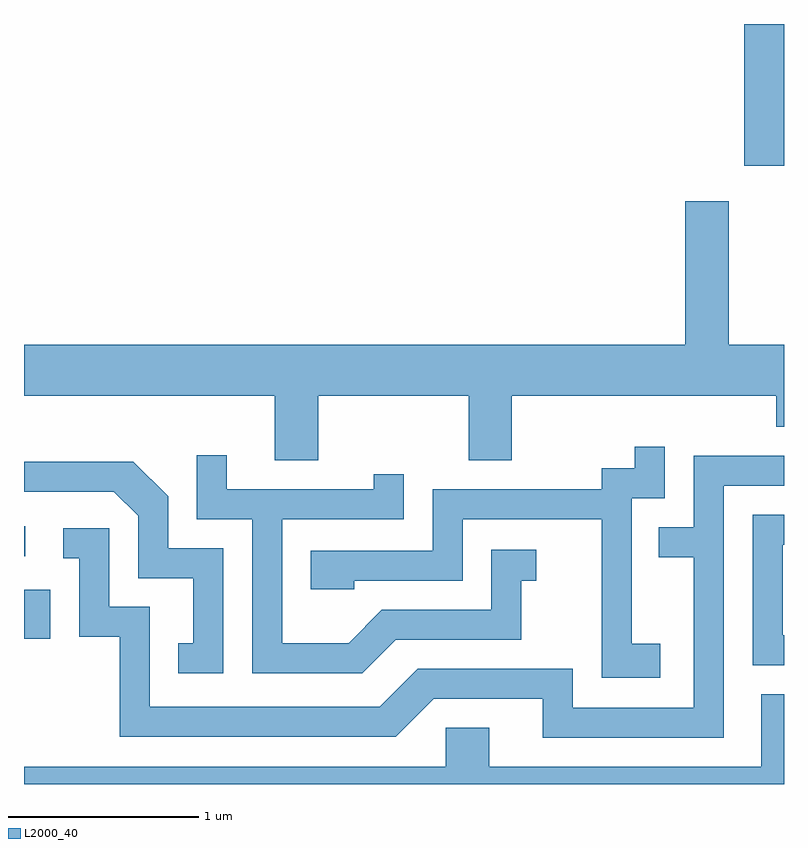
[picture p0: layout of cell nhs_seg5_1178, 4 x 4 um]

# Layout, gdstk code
import gdstk
lib = gdstk.Library(unit=1e-6, precision=1e-09)
def R(c, l, rs):  # rectangles x0, y0, x1, y1
    for r in rs: c.add(gdstk.rectangle(r[:2], r[2:], *l))
def P(c, l, *ps):  # polygons
    for p in ps: c.add(gdstk.Polygon(p, *l))
L2000_40 = (2000, 40)

nhs_seg5_1178 = lib.new_cell('nhs_seg5_1178')
R(nhs_seg5_1178, L2000_40, [(219.611,1468.836,219.749,1469.094), (219.611,1469.271,219.618,1469.429), (223.401,1471.326,223.611,1472.072)])
P(nhs_seg5_1178, L2000_40, [(221.159,1470.116),(221.951,1470.116),(221.951,1469.776),(222.179,1469.776),(222.179,1470.116),(223.571,1470.116),(223.571,1469.951),(223.611,1469.951),(223.611,1470.384),(223.319,1470.384),(223.319,1471.139),(223.091,1471.139),(223.091,1470.384),(219.611,1470.384),(219.611,1470.116),(220.931,1470.116),(220.931,1469.776),(221.159,1469.776)],
  [(222.959,1468.809),(222.809,1468.809),(222.809,1469.576),(222.984,1469.576),(222.984,1469.848),(222.826,1469.848),(222.826,1469.734),(222.651,1469.734),(222.651,1469.624),(221.761,1469.624),(221.761,1469.299),(221.121,1469.299),(221.121,1469.096),(221.349,1469.096),(221.349,1469.141),(221.919,1469.141),(221.919,1469.466),(222.651,1469.466),(222.651,1468.631),(222.959,1468.631)],
  [(221.567,1468.831),(222.229,1468.831),(222.229,1469.141),(222.308,1469.141),(222.308,1469.304),(222.071,1469.304),(222.071,1468.989),(221.494,1468.989),(221.319,1468.814),(220.969,1468.814),(220.969,1469.466),(221.609,1469.466),(221.609,1469.703),(221.451,1469.703),(221.451,1469.624),(220.679,1469.624),(220.679,1469.803),(220.521,1469.803),(220.521,1469.466),(220.811,1469.466),(220.811,1468.656),(221.392,1468.656)],
  [(223.294,1469.641),(223.611,1469.641),(223.611,1469.799),(223.136,1469.799),(223.136,1469.424),(222.953,1469.424),(222.953,1469.266),(223.136,1469.266),(223.136,1468.474),(222.499,1468.474),(222.499,1468.679),(221.684,1468.679),(221.484,1468.479),(220.274,1468.479),(220.274,1469.004),(220.059,1469.004),(220.059,1469.419),(219.818,1469.419),(219.818,1469.261),(219.901,1469.261),(219.901,1468.846),(220.116,1468.846),(220.116,1468.321),(221.567,1468.321),(221.767,1468.521),(222.341,1468.521),(222.341,1468.316),(223.294,1468.316)],
  [(220.659,1469.314),(220.369,1469.314),(220.369,1469.587),(220.187,1469.769),(219.611,1469.769),(219.611,1469.611),(220.084,1469.611),(220.211,1469.484),(220.211,1469.156),(220.501,1469.156),(220.501,1468.814),(220.423,1468.814),(220.423,1468.656),(220.659,1468.656)],
  [(223.611,1468.854),(223.604,1468.854),(223.604,1469.331),(223.611,1469.331),(223.611,1469.489),(223.446,1469.489),(223.446,1468.696),(223.611,1468.696)],
  [(223.611,1468.544),(223.491,1468.544),(223.491,1468.164),(222.059,1468.164),(222.059,1468.369),(221.831,1468.369),(221.831,1468.164),(219.611,1468.164),(219.611,1468.072),(223.611,1468.072)])

lib.write_gds('nhs_seg5_1178.gds')
